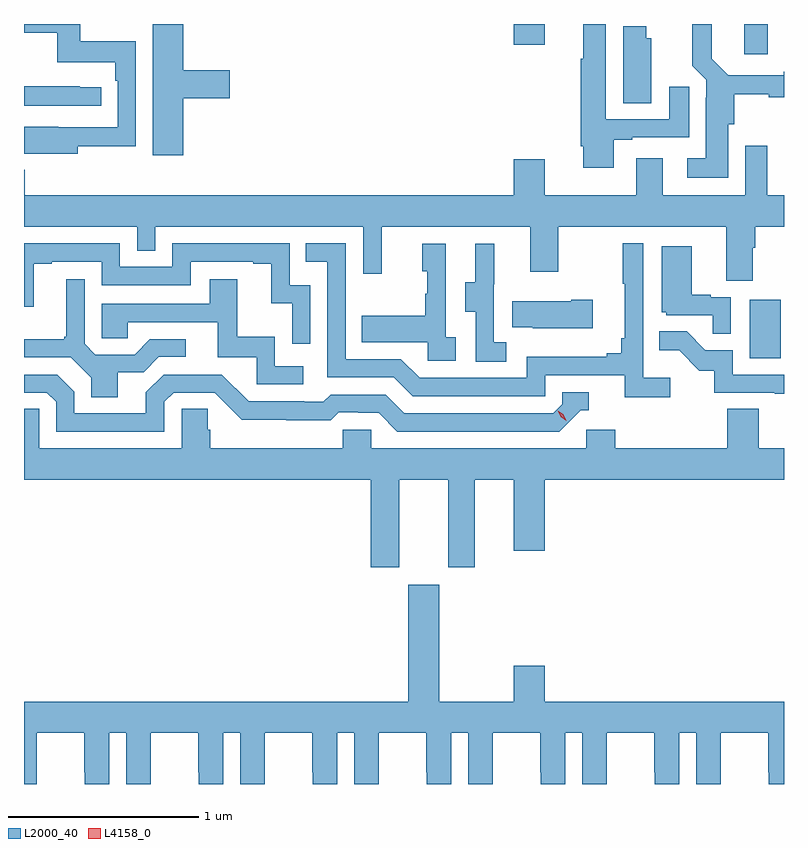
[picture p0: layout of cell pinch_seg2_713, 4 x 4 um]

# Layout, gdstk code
import gdstk
lib = gdstk.Library(unit=1e-6, precision=1e-09)
def R(c, l, rs):  # rectangles x0, y0, x1, y1
    for r in rs: c.add(gdstk.rectangle(r[:2], r[2:], *l))
def P(c, l, *ps):  # polygons
    for p in ps: c.add(gdstk.Polygon(p, *l))
L2000_40 = (2000, 40)
L4158_0 = (4158, 0)

pinch_seg2_713 = lib.new_cell('pinch_seg2_713')
R(pinch_seg2_713, L2000_40, [(1137.278,600.324,1137.442,600.631), (1137.251,601.923,1137.374,602.082), (1136.036,601.974,1136.2,602.082)])
P(pinch_seg2_713, L2000_40, [(1134.298,601.691),(1134.541,601.691),(1134.541,601.838),(1134.298,601.838),(1134.298,602.082),(1134.137,602.082),(1134.137,601.392),(1134.298,601.392)],
  [(1137.166,601.554),(1137.197,601.554),(1137.197,601.711),(1137.38,601.711),(1137.38,601.696),(1137.459,601.696),(1137.459,601.832),(1137.457,601.832),(1137.457,601.812),(1137.166,601.812),(1137.079,601.9),(1137.079,602.082),(1136.977,602.082),(1136.977,601.862),(1137.051,601.788),(1137.051,601.694),(1137.047,601.694),(1137.047,601.375),(1136.949,601.375),(1136.949,601.274),(1137.166,601.274)],
  [(1133.743,601.438),(1134.048,601.438),(1134.048,601.99),(1133.755,601.99),(1133.755,602.082),(1133.459,602.082),(1133.459,602.035),(1133.634,602.035),(1133.634,601.88),(1133.939,601.88),(1133.939,601.784),(1133.952,601.784),(1133.952,601.539),(1133.639,601.539),(1133.639,601.54),(1133.459,601.54),(1133.459,601.4),(1133.743,601.4)],
  [(1136.563,601.473),(1136.659,601.473),(1136.659,601.485),(1136.959,601.485),(1136.959,601.753),(1136.855,601.753),(1136.855,601.581),(1136.521,601.581),(1136.521,602.082),(1136.402,602.082),(1136.402,601.9),(1136.39,601.9),(1136.39,601.438),(1136.402,601.438),(1136.402,601.326),(1136.563,601.326)],
  [(1136.761,602.007),(1136.734,602.007),(1136.734,602.071),(1136.612,602.071),(1136.612,601.666),(1136.761,601.666)],
  [(1133.866,601.749),(1133.753,601.749),(1133.753,601.754),(1133.459,601.754),(1133.459,601.653),(1133.866,601.653)],
  [(1137.295,600.904),(1137.308,600.904),(1137.308,601.016),(1137.459,601.016),(1137.459,601.18),(1137.371,601.18),(1137.371,601.441),(1137.255,601.441),(1137.255,601.18),(1136.821,601.18),(1136.821,601.375),(1136.681,601.375),(1136.681,601.18),(1136.2,601.18),(1136.2,601.369),(1136.036,601.369),(1136.036,601.18),(1133.462,601.18),(1133.462,601.315),(1133.459,601.315),(1133.459,601.016),(1134.054,601.016),(1134.054,600.889),(1134.15,600.889),(1134.15,601.016),(1135.245,601.016),(1135.245,600.768),(1135.343,600.768),(1135.343,601.016),(1136.123,601.016),(1136.123,600.777),(1136.271,600.777),(1136.271,601.016),(1137.155,601.016),(1137.155,600.73),(1137.295,600.73)],
  [(1136.86,600.22),(1136.718,600.22),(1136.718,600.928),(1136.61,600.928),(1136.61,600.715),(1136.621,600.715),(1136.621,600.427),(1136.602,600.427),(1136.602,600.35),(1136.525,600.35),(1136.525,600.331),(1136.106,600.331),(1136.106,600.219),(1135.542,600.219),(1135.443,600.318),(1135.152,600.318),(1135.152,600.927),(1134.943,600.927),(1134.943,600.831),(1135.056,600.831),(1135.056,600.222),(1135.406,600.222),(1135.505,600.123),(1136.202,600.123),(1136.202,600.234),(1136.621,600.234),(1136.621,600.118),(1136.86,600.118)],
  [(1134.966,600.708),(1134.858,600.708),(1134.858,600.927),(1134.24,600.927),(1134.24,600.804),(1133.964,600.804),(1133.964,600.927),(1133.459,600.927),(1133.459,600.593),(1133.509,600.593),(1133.509,600.819),(1133.605,600.819),(1133.605,600.831),(1133.868,600.831),(1133.868,600.708),(1134.336,600.708),(1134.336,600.831),(1134.665,600.831),(1134.665,600.819),(1134.761,600.819),(1134.761,600.611),(1134.87,600.611),(1134.87,600.399),(1134.966,600.399)],
  [(1135.732,600.434),(1135.68,600.434),(1135.68,600.925),(1135.556,600.925),(1135.556,600.78),(1135.582,600.78),(1135.582,600.662),(1135.572,600.662),(1135.572,600.547),(1135.237,600.547),(1135.237,600.407),(1135.584,600.407),(1135.584,600.309),(1135.732,600.309)],
  [(1135.996,600.407),(1135.932,600.407),(1135.932,600.711),(1135.934,600.711),(1135.934,600.925),(1135.835,600.925),(1135.835,600.723),(1135.781,600.723),(1135.781,600.568),(1135.836,600.568),(1135.836,600.304),(1135.996,600.304)],
  [(1137.18,600.645),(1137.074,600.645),(1137.074,600.658),(1136.974,600.658),(1136.974,600.913),(1136.816,600.913),(1136.816,600.564),(1136.838,600.564),(1136.838,600.549),(1137.085,600.549),(1137.085,600.451),(1137.18,600.451)],
  [(1134.928,600.282),(1134.78,600.282),(1134.78,600.436),(1134.581,600.436),(1134.581,600.739),(1134.437,600.739),(1134.437,600.609),(1133.868,600.609),(1133.868,600.429),(1134.005,600.429),(1134.005,600.513),(1134.479,600.513),(1134.479,600.327),(1134.684,600.327),(1134.684,600.186),(1134.928,600.186)],
  [(1133.953,600.25),(1134.088,600.25),(1134.168,600.33),(1134.31,600.33),(1134.31,600.423),(1134.122,600.423),(1134.041,600.342),(1133.835,600.342),(1133.778,600.399),(1133.778,600.739),(1133.681,600.739),(1133.681,600.436),(1133.67,600.436),(1133.67,600.424),(1133.459,600.424),(1133.459,600.327),(1133.706,600.327),(1133.813,600.22),(1133.813,600.118),(1133.953,600.118)],
  [(1136.452,600.63),(1136.339,600.63),(1136.339,600.622),(1136.029,600.622),(1136.029,600.485),(1136.137,600.485),(1136.137,600.482),(1136.452,600.482)],
  [(1137.459,600.237),(1137.189,600.237),(1137.189,600.366),(1137.045,600.366),(1136.947,600.464),(1136.803,600.464),(1136.803,600.365),(1136.907,600.365),(1137.014,600.258),(1137.091,600.258),(1137.091,600.141),(1137.409,600.141),(1137.409,600.136),(1137.459,600.136)],
  [(1134.198,600.093),(1134.246,600.141),(1134.462,600.141),(1134.604,599.999),(1134.84,599.999),(1134.84,599.997),(1135.073,599.997),(1135.115,600.039),(1135.218,600.039),(1135.218,600.036),(1135.325,600.036),(1135.424,599.937),(1136.277,599.937),(1136.388,600.048),(1136.431,600.048),(1136.431,600.144),(1136.292,600.144),(1136.292,600.081),(1136.244,600.033),(1135.461,600.033),(1135.362,600.132),(1135.073,600.132),(1135.034,600.093),(1134.935,600.093),(1134.935,600.096),(1134.642,600.096),(1134.501,600.237),(1134.195,600.237),(1134.101,600.143),(1134.101,600.033),(1133.724,600.033),(1133.724,600.147),(1133.634,600.237),(1133.459,600.237),(1133.459,600.141),(1133.58,600.141),(1133.628,600.093),(1133.628,599.937),(1134.198,599.937)],
  [(1135.435,599.684),(1135.691,599.684),(1135.691,599.223),(1135.831,599.223),(1135.831,599.684),(1136.036,599.684),(1136.036,599.31),(1136.2,599.31),(1136.2,599.684),(1137.459,599.684),(1137.459,599.848),(1137.326,599.848),(1137.326,600.056),(1137.161,600.056),(1137.161,599.848),(1136.57,599.848),(1136.57,599.946),(1136.418,599.946),(1136.418,599.848),(1135.287,599.848),(1135.287,599.946),(1135.137,599.946),(1135.137,599.848),(1134.44,599.848),(1134.44,599.946),(1134.425,599.946),(1134.425,600.056),(1134.288,600.056),(1134.288,599.848),(1133.538,599.848),(1133.538,600.056),(1133.459,600.056),(1133.459,599.684),(1135.283,599.684),(1135.283,599.223),(1135.435,599.223)],
  [(1133.459,598.082),(1133.526,598.082),(1133.526,598.144),(1133.527,598.144),(1133.527,598.352),(1133.777,598.352),(1133.777,598.144),(1133.778,598.144),(1133.778,598.082),(1133.908,598.082),(1133.908,598.352),(1133.996,598.352),(1133.996,598.082),(1134.126,598.082),(1134.126,598.144),(1134.127,598.144),(1134.127,598.352),(1134.377,598.352),(1134.377,598.144),(1134.378,598.144),(1134.378,598.082),(1134.508,598.082),(1134.508,598.352),(1134.596,598.352),(1134.596,598.082),(1134.726,598.082),(1134.726,598.144),(1134.727,598.144),(1134.727,598.352),(1134.977,598.352),(1134.977,598.144),(1134.978,598.144),(1134.978,598.082),(1135.108,598.082),(1135.108,598.352),(1135.196,598.352),(1135.196,598.082),(1135.326,598.082),(1135.326,598.144),(1135.327,598.144),(1135.327,598.352),(1135.577,598.352),(1135.577,598.144),(1135.578,598.144),(1135.578,598.082),(1135.708,598.082),(1135.708,598.352),(1135.796,598.352),(1135.796,598.082),(1135.926,598.082),(1135.926,598.144),(1135.927,598.144),(1135.927,598.352),(1136.177,598.352),(1136.177,598.144),(1136.178,598.144),(1136.178,598.082),(1136.308,598.082),(1136.308,598.352),(1136.396,598.352),(1136.396,598.082),(1136.526,598.082),(1136.526,598.144),(1136.527,598.144),(1136.527,598.352),(1136.777,598.352),(1136.777,598.144),(1136.778,598.144),(1136.778,598.082),(1136.908,598.082),(1136.908,598.352),(1136.996,598.352),(1136.996,598.082),(1137.126,598.082),(1137.126,598.144),(1137.127,598.144),(1137.127,598.352),(1137.377,598.352),(1137.377,598.144),(1137.378,598.144),(1137.378,598.082),(1137.459,598.082),(1137.459,598.516),(1136.2,598.516),(1136.2,598.705),(1136.036,598.705),(1136.036,598.516),(1135.645,598.516),(1135.645,599.131),(1135.481,599.131),(1135.481,598.516),(1133.459,598.516)])
P(pinch_seg2_713, L4158_0, [(1136.313,599.993),(1136.283,600.014),(1136.267,600.046),(1136.267,600.047),(1136.268,600.047),(1136.298,600.027),(1136.314,599.994),(1136.314,599.993)])

lib.write_gds('pinch_seg2_713.gds')
